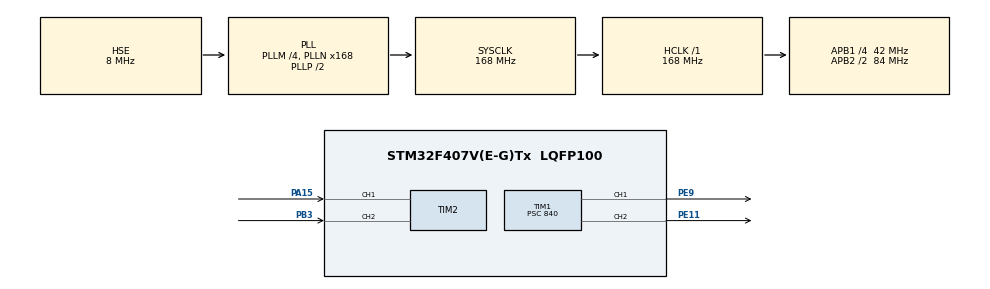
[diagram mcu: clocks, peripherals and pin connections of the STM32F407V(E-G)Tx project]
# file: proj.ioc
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Mcu.Family=STM32F4
Mcu.Name=STM32F407V(E-G)Tx
Mcu.Package=LQFP100
NVIC.PriorityGroup=NVIC_PRIORITYGROUP_4
NVIC.TIM8_TRG_COM_TIM14_IRQn=true\:0\:0\:false\:false\:true\:true\:true\:true
NVIC.TIM8_UP_TIM13_IRQn=true\:0\:0\:false\:false\:true\:true\:true\:true
PA13.Mode=Serial_Wire
PA13.Signal=SYS_JTMS-SWDIO
PA14.Mode=Serial_Wire
PA14.Signal=SYS_JTCK-SWCLK
PA15.GPIO_ModeDefaultPP=GPIO_MODE_AF_PP
PA15.GPIO_PuPd=GPIO_NOPULL
PA15.GPIO_Speed=GPIO_SPEED_FREQ_LOW
PA15.Signal=S_TIM2_CH1_ETR
PB3.Signal=S_TIM2_CH2
PE11.GPIO_PuPd=GPIO_NOPULL
PE11.GPIO_Speed=GPIO_SPEED_FREQ_HIGH
PE11.Signal=S_TIM1_CH2
PE9.GPIO_PuPd=GPIO_NOPULL
PE9.GPIO_Speed=GPIO_SPEED_FREQ_HIGH
PE9.Signal=S_TIM1_CH1
PH0-OSC_IN.Mode=HSE-External-Oscillator
PH0-OSC_IN.Signal=RCC_OSC_IN
PH1-OSC_OUT.Mode=HSE-External-Oscillator
PH1-OSC_OUT.Signal=RCC_OSC_OUT
ProjectManager.HeapSize=0x200
ProjectManager.StackSize=0x400
ProjectManager.TargetToolchain=MDK-ARM V5.32
RCC.48MHZClocksFreq_Value=84000000
RCC.AHBFreq_Value=168000000
RCC.APB1CLKDivider=RCC_HCLK_DIV4
RCC.APB1Freq_Value=42000000
RCC.APB1TimFreq_Value=84000000
RCC.APB2CLKDivider=RCC_HCLK_DIV2
RCC.APB2Freq_Value=84000000
RCC.APB2TimFreq_Value=168000000
RCC.CortexFreq_Value=168000000
RCC.HCLKFreq_Value=168000000
RCC.HSE_VALUE=8000000
RCC.HSI_VALUE=16000000
RCC.LSE_VALUE=32768
RCC.PLLM=4
RCC.PLLN=168
RCC.PLLSourceVirtual=RCC_PLLSOURCE_HSE
RCC.SYSCLKFreq_VALUE=168000000
RCC.SYSCLKSource=RCC_SYSCLKSOURCE_PLLCLK
RCC.VCOOutputFreq_Value=336000000
SH.S_TIM1_CH1.0=TIM1_CH1,PWM Generation1 CH1
SH.S_TIM1_CH2.0=TIM1_CH2,PWM Generation2 CH2
SH.S_TIM2_CH1_ETR.0=TIM2_CH1,Encoder_Interface
SH.S_TIM2_CH2.0=TIM2_CH2,Encoder_Interface
TIM1.Channel-PWM\ Generation1\ CH1=TIM_CHANNEL_1
TIM1.Channel-PWM\ Generation2\ CH2=TIM_CHANNEL_2
TIM1.Period=200
TIM1.Prescaler=840
VP_TIM13_VS_ClockSourceINT.Mode=Enable_Timer
VP_TIM14_VS_ClockSourceINT.Mode=Enable_Timer
VP_TIM1_VS_ClockSourceINT.Mode=Internal
board=custom

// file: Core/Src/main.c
/* USER CODE BEGIN Header */
/**
 ******************************************************************************
 * @file           : main.c
 * @brief          : Main program body
 ******************************************************************************
 * @attention
 *
 * Copyright (c) 2025 STMicroelectronics.
 * All rights reserved.
 *
 * This software is licensed under terms that can be found in the LICENSE file
 * in the root directory of this software component.
 * If no LICENSE file comes with this software, it is provided AS-IS.
 *
 ******************************************************************************
 */
/* USER CODE END Header */
#include "main.h"
#include "tim.h"
#include "gpio.h"

/* USER CODE BEGIN Includes */
#include "chassis.h"
/* USER CODE END Includes */

/* USER CODE BEGIN PV */
uint16_t motor1_in1_pwm_val = 0; // 0 ~ 200
uint16_t motor1_in2_pwm_val = 0;
int dir = 0;
int code = 0;

chassis_t chassis;

MG513_t motor1;
MG513_t motor2;
MG513_t motor3;

/* USER CODE END PV */

void SystemClock_Config(void);

int main(void)
{

  /* MCU Configuration--------------------------------------------------------*/

  /* Reset of all peripherals, Initializes the Flash interface and the Systick. */
  HAL_Init();

  /* Configure the system clock */
  SystemClock_Config();

  /* Initialize all configured peripherals */
  MX_GPIO_Init();
  MX_TIM2_Init();
  MX_TIM1_Init();
  MX_TIM14_Init();
  MX_TIM13_Init();
  /* USER CODE BEGIN 2 */

  // 底盘电机初始化
  // MG513_init(&motor1, &htim1, TIM_CHANNEL_1, TIM_CHANNEL_2, \
  //   MG513_PID_SPD_KP, MG513_PID_SPD_KI, MG513_PID_SPD_KD, MG513_PID_SPD_MAX_OUT, MG513_PID_SPD_MAX_IOUT);

  HAL_TIM_PWM_Start(&htim1, TIM_CHANNEL_1);
  HAL_TIM_PWM_Start(&htim1, TIM_CHANNEL_2);
  // HAL_TIM_PWM_Start(&htim2, TIM_CHANNEL_1);
  // HAL_TIM_PWM_Start(&htim2, TIM_CHANNEL_2);
  HAL_TIM_Encoder_Start(&htim2, TIM_CHANNEL_1 | TIM_CHANNEL_2);
  /* USER CODE END 2 */

  /* Infinite loop */
  /* USER CODE BEGIN WHILE */
  while (1)
  {
    __HAL_TIM_SetCompare(&htim1, TIM_CHANNEL_1, motor1_in1_pwm_val);
    code = (short)__HAL_TIM_GET_COUNTER(&htim2);
    __HAL_TIM_GET_COUNTER(&htim2) = 0;
    HAL_Delay(10);
    /* USER CODE END WHILE */

  }
}

void SystemClock_Config(void)
{
  RCC_OscInitTypeDef RCC_OscInitStruct = {0};
  RCC_ClkInitTypeDef RCC_ClkInitStruct = {0};

  /** Configure the main internal regulator output voltage
  */
  __HAL_RCC_PWR_CLK_ENABLE();
  __HAL_PWR_VOLTAGESCALING_CONFIG(PWR_REGULATOR_VOLTAGE_SCALE1);

  /** Initializes the RCC Oscillators according to the specified parameters
  * in the RCC_OscInitTypeDef structure.
  */
  RCC_OscInitStruct.OscillatorType = RCC_OSCILLATORTYPE_HSE;
  RCC_OscInitStruct.HSEState = RCC_HSE_ON;
  RCC_OscInitStruct.PLL.PLLState = RCC_PLL_ON;
  RCC_OscInitStruct.PLL.PLLSource = RCC_PLLSOURCE_HSE;
  RCC_OscInitStruct.PLL.PLLM = 4;
  RCC_OscInitStruct.PLL.PLLN = 168;
  RCC_OscInitStruct.PLL.PLLP = RCC_PLLP_DIV2;
  RCC_OscInitStruct.PLL.PLLQ = 4;
  if (HAL_RCC_OscConfig(&RCC_OscInitStruct) != HAL_OK)
  {
    Error_Handler();
  }

  /** Initializes the CPU, AHB and APB buses clocks
  */
  RCC_ClkInitStruct.ClockType = RCC_CLOCKTYPE_HCLK|RCC_CLOCKTYPE_SYSCLK
                              |RCC_CLOCKTYPE_PCLK1|RCC_CLOCKTYPE_PCLK2;
  RCC_ClkInitStruct.SYSCLKSource = RCC_SYSCLKSOURCE_PLLCLK;
  RCC_ClkInitStruct.AHBCLKDivider = RCC_SYSCLK_DIV1;
  RCC_ClkInitStruct.APB1CLKDivider = RCC_HCLK_DIV4;
  RCC_ClkInitStruct.APB2CLKDivider = RCC_HCLK_DIV2;

  if (HAL_RCC_ClockConfig(&RCC_ClkInitStruct, FLASH_LATENCY_5) != HAL_OK)
  {
    Error_Handler();
  }
}

void Error_Handler(void)
{
  __disable_irq();
  while (1)
  {
  }
}
